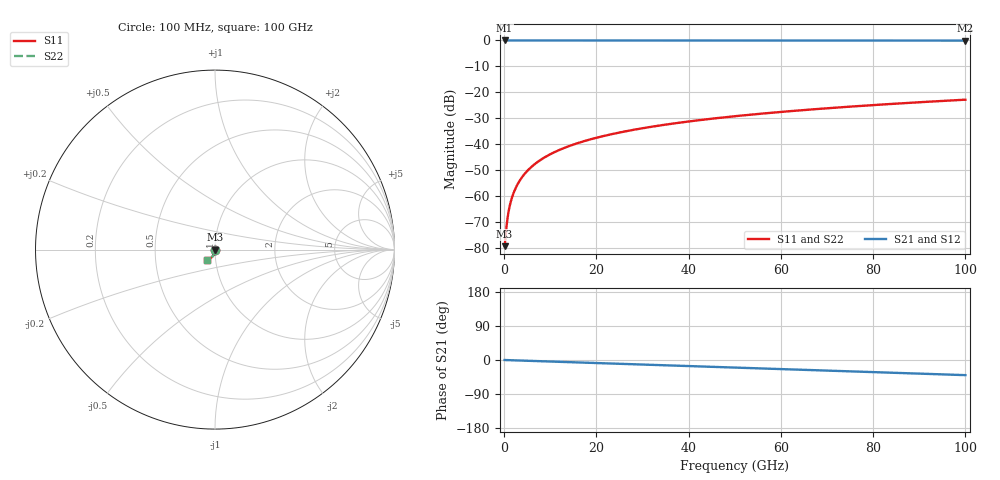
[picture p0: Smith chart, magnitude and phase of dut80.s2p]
! Touchstone file exported from HFSS 2026.1.0
!  File:  C:/ffzhzh/LocalFiles/Ansys_Project_Files/temp_train_TSV_80_1783505424_44152.aedt
!  Generated:  06:11:34 PM Jul  8, 2026
!  Design:  TSV
!  Project:  temp_train_TSV_80_1783505424_44152
! Variables:
!  h_bsmrdl = 2um
!  h_ox = 20um
!  h_rdl = 5um
!  h_sub = 80.97um
!  h_tmrdl = 5um
!  h_tsv = 80.97um
!  h_via = 3um
!  l_bsmrdl = 300um
!  l_sub = 422.68um
!  l_tmrdl = 200um
!  m_sub = 200um
!  pitch = 41.52um
!  r_tsv = 11.34um
!  s_tmrdl = 10um
!  w_bsmrdl = 18um
!  w_sub = 500um
!  w_tmrdl = 12um
!  x_tsv_center1 = 206um
!  x_tsv_center2 = 524um
!  x_tsv_center3 = 736um
!  x_tsv_center4 = 1054um
!  x_tsv_center5 = 1266um
!  x_tsv_center6 = 1584um
# GHz S MA R 50.000000
! Terminal data exported
! Port[1] = TSV1_1_T1
! Port[2] = TSV1_1_T2
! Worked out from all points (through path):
!   1000 points, 100 MHz to 100 GHz, reference 50 ohm
!   highest |S21| = 0.00 dB at 100 MHz (marker M1); lowest = -0.1 dB at 100 GHz (marker M2)
!   group delay of S21, straight-line fit = 1.11 ps
!   lowest |S11| = -79.1 dB at 100 MHz (marker M3), VSWR 1.00, Z = 50 - j0.00231 ohm
!   |S11| at or under -10 dB: start of sweep to end of sweep
!   |S22| runs from -79.1 to -22.8 dB; largest |S21 - S12| = 4.1e-15
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0.1  0.0001108 -12.0  0.9999 -0.0  0.9999 -0.0  0.0001108 -12.0
! Gamma 0 0 0 0
! Port Impedance 50 0 50 0
0.4  0.0002088 -37.5  0.9998 -0.2  0.9998 -0.2  0.0002088 -37.5
0.8  0.0004195 -54.6  0.9998 -0.3  0.9998 -0.3  0.0004195 -54.6
1  0.0005348 -59.6  0.9997 -0.4  0.9997 -0.4  0.0005348 -59.6
1.3  0.0007119 -64.7  0.9997 -0.5  0.9997 -0.5  0.0007119 -64.7
1.6  0.0008926 -68.1  0.9997 -0.7  0.9997 -0.7  0.0008926 -68.1
2.1  0.0012 -71.9  0.9996 -0.9  0.9996 -0.9  0.0012 -71.9
2.7  0.00158 -74.8  0.9996 -1.1  0.9996 -1.1  0.00158 -74.8
3.4  0.002033 -77.1  0.9995 -1.4  0.9995 -1.4  0.002033 -77.1
4.2  0.00256 -79.1  0.9994 -1.7  0.9994 -1.7  0.00256 -79.1
5.2  0.003227 -81.0  0.9994 -2.1  0.9994 -2.1  0.003227 -81.0
6.3  0.003966 -82.6  0.9993 -2.5  0.9993 -2.5  0.003966 -82.6
9.1  0.00587 -85.6  0.9992 -3.7  0.9992 -3.7  0.00587 -85.6
12.6  0.008286 -88.3  0.999 -5.0  0.999 -5.0  0.008286 -88.3
16.8  0.01121 -90.9  0.9988 -6.7  0.9988 -6.7  0.01121 -90.9
24.1  0.01634 -94.9  0.9985 -9.6  0.9985 -9.6  0.01634 -94.9
33.4  0.02294 -99.3  0.9981 -13.3  0.9981 -13.3  0.02294 -99.4
41.2  0.02853 -102.9  0.9978 -16.4  0.9978 -16.4  0.02853 -102.9
50.1  0.03497 -106.8  0.9974 -20.0  0.9974 -20.0  0.03497 -106.9
66.7  0.04718 -113.9  0.9965 -26.6  0.9965 -26.6  0.04718 -114.0
83.4  0.05976 -121.0  0.9955 -33.3  0.9955 -33.3  0.05976 -121.1
100  0.07264 -128.0  0.9942 -39.9  0.9942 -39.9  0.07264 -128.1
